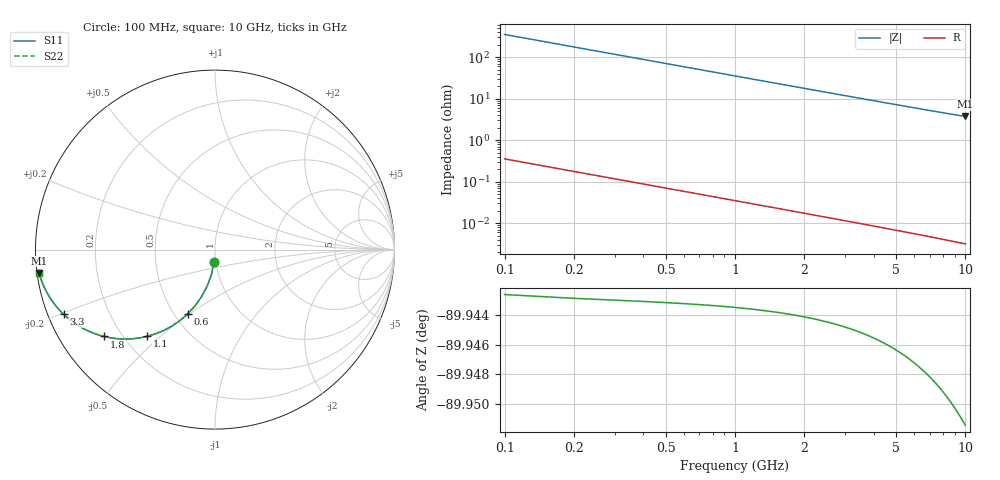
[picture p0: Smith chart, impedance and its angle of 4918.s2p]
# Hz S RI R 50.00
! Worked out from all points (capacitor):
!   100 points, 100 MHz to 10 GHz, reference 50 ohm
!   read as one part in shunt: C = 4.5 pF near 100 MHz
!   lowest |Z| = 3.72 ohm at 10 GHz (marker M1)
!   S11 on the Smith chart (normalised r, x): 100 MHz: 0.98, -0.14; 600 MHz: 0.58, -0.49; 1.1 GHz: 0.29, -0.45; 1.8 GHz: 0.13, -0.34; 3.3 GHz: 0.04, -0.20; 10 GHz: 0.01, -0.07
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1e8  -0.00503 -0.0703  0.9949 -0.0705  0.9949 -0.0705  -0.00503 -0.0703
2e8  -0.0198 -0.1386  0.9802 -0.1389  0.9802 -0.1389  -0.0198 -0.1386
3e8  -0.0433 -0.2028  0.9567 -0.2033  0.9567 -0.2033  -0.0433 -0.2028
4e8  -0.0744 -0.2616  0.9256 -0.2622  0.9256 -0.2622  -0.0744 -0.2616
5e8  -0.1114 -0.3138  0.8885 -0.3146  0.8885 -0.3146  -0.1114 -0.3138
6e8  -0.1529 -0.3589  0.8471 -0.3599  0.8471 -0.3599  -0.1529 -0.3589
7e8  -0.1971 -0.3968  0.8028 -0.3979  0.8028 -0.3979  -0.1971 -0.3968
8e8  -0.2427 -0.4276  0.7572 -0.4289  0.7572 -0.4289  -0.2427 -0.4276
9e8  -0.2885 -0.4519  0.7115 -0.4533  0.7115 -0.4533  -0.2885 -0.4519
1.1e9  -0.377 -0.4833  0.623 -0.485  0.623 -0.485  -0.377 -0.4833
1.4e9  -0.4947 -0.4984  0.5052 -0.5006  0.5052 -0.5006  -0.4947 -0.4984
1.8e9  -0.6178 -0.484  0.3822 -0.4868  0.3822 -0.4868  -0.6178 -0.484
2.1e9  -0.6873 -0.4614  0.3127 -0.4647  0.3127 -0.4647  -0.6873 -0.4614
2.5e9  -0.7567 -0.4266  0.2432 -0.4305  0.2432 -0.4305  -0.7567 -0.4266
2.9e9  -0.807 -0.3918  0.193 -0.3964  0.193 -0.3964  -0.807 -0.3918
3.3e9  -0.844 -0.3598  0.156 -0.365  0.156 -0.365  -0.844 -0.3598
3.4e9  -0.8516 -0.3522  0.1483 -0.3576  0.1483 -0.3576  -0.8516 -0.3522
4.2e9  -0.8974 -0.2995  0.1025 -0.3062  0.1025 -0.3062  -0.8974 -0.2995
5.1e9  -0.928 -0.2539  0.0719 -0.262  0.0719 -0.262  -0.928 -0.2539
6.7e9  -0.957 -0.1969  0.0429 -0.2077  0.0429 -0.2077  -0.957 -0.1969
8.4e9  -0.9723 -0.1566  0.0276 -0.1703  0.0276 -0.1703  -0.9723 -0.1566
1e10  -0.9804 -0.1296  0.0195 -0.1461  0.0195 -0.1461  -0.9804 -0.1296
